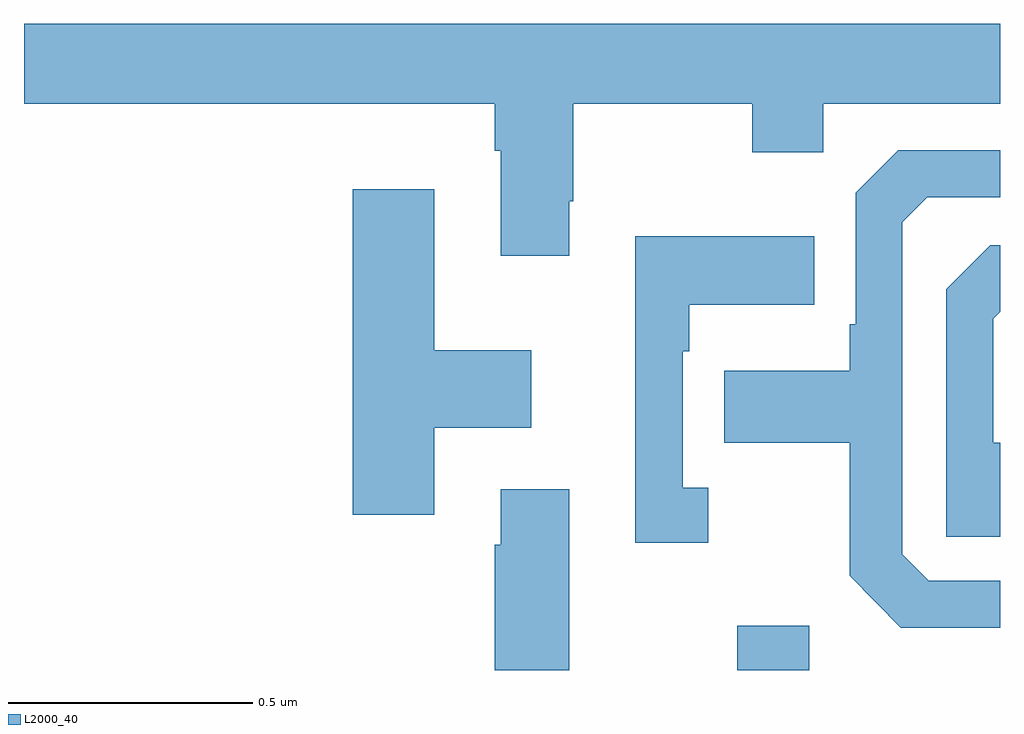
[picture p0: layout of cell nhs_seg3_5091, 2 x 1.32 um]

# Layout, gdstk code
import gdstk
lib = gdstk.Library(unit=1e-6, precision=1e-09)
def R(c, l, rs):  # rectangles x0, y0, x1, y1
    for r in rs: c.add(gdstk.rectangle(r[:2], r[2:], *l))
def P(c, l, *ps):  # polygons
    for p in ps: c.add(gdstk.Polygon(p, *l))
L2000_40 = (2000, 40)

nhs_seg3_5091 = lib.new_cell('nhs_seg3_5091')
R(nhs_seg3_5091, L2000_40, [(175.462,722.4,175.609,722.491)])
P(nhs_seg3_5091, L2000_40, [(175.117,723.361),(175.125,723.361),(175.125,723.56),(175.492,723.56),(175.492,723.461),(175.638,723.461),(175.638,723.56),(176,723.56),(176,723.724),(174,723.724),(174,723.56),(174.965,723.56),(174.965,723.464),(174.977,723.464),(174.977,723.249),(175.117,723.249)],
  [(176,722.583),(175.854,722.583),(175.8,722.637),(175.8,723.318),(175.851,723.369),(176,723.369),(176,723.465),(175.791,723.465),(175.704,723.378),(175.704,723.109),(175.692,723.109),(175.692,723.013),(175.435,723.013),(175.435,722.866),(175.692,722.866),(175.692,722.593),(175.797,722.487),(176,722.487)],
  [(174.841,722.897),(175.039,722.897),(175.039,723.055),(174.841,723.055),(174.841,723.385),(174.674,723.385),(174.674,722.718),(174.841,722.718)],
  [(175.402,722.774),(175.35,722.774),(175.35,723.053),(175.363,723.053),(175.363,723.149),(175.619,723.149),(175.619,723.289),(175.253,723.289),(175.253,722.661),(175.402,722.661)],
  [(176,722.866),(175.986,722.866),(175.986,723.12),(176,723.134),(176,723.27),(175.98,723.27),(175.89,723.18),(175.89,722.673),(176,722.673)],
  [(175.117,722.77),(174.977,722.77),(174.977,722.657),(174.965,722.657),(174.965,722.4),(175.117,722.4)])

lib.write_gds('nhs_seg3_5091.gds')
